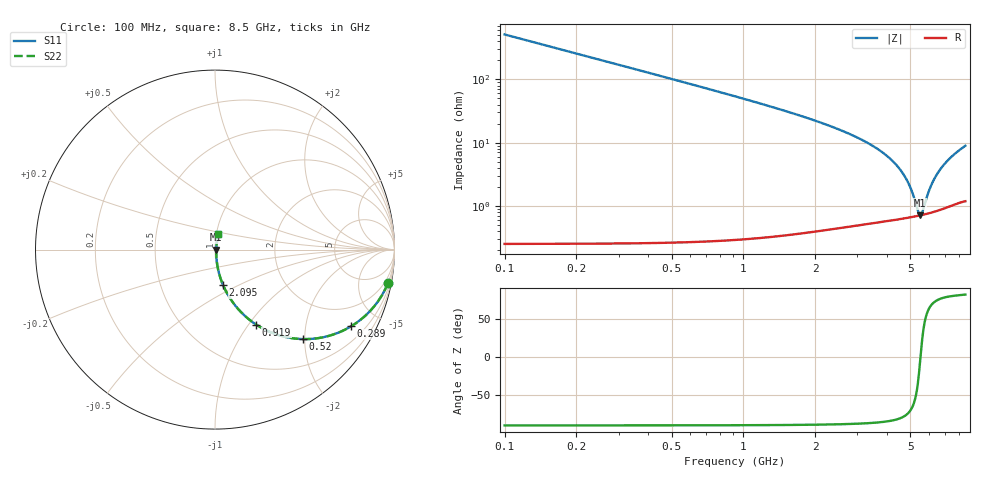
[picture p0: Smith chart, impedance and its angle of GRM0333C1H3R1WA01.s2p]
!Murata Part Number: GRM0333C1H3R1WA01
!These Parameters are Measured in Series Mode Connection
!Data Generated on Mar 30, 2021
!  o--ll--o
!Port1  Port2
!  o------o
!Operation Temp=25[degC], DC Bias Voltage=0[V]
!Freq. Start=100[MHz] Stop=9[GHz] 401[Steps]
# Hz S RI R 50
!Freq.(Hz) S11(Real) S11(Imag) S21(Real) S21(Imag) S12(Real) S12(Imag) S22(Real) S22(Imag)
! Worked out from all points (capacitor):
!   401 points, 100 MHz to 8.5 GHz, reference 50 ohm
!   read as one part in series: C = 3.1 pF near 142 MHz
!   lowest |Z| = 712 mohm at 5.497 GHz (marker M1)
!   series resonance near 5.513 GHz, so ESL is about 270 pH
!   S11 on the Smith chart (normalised r, x): 100 MHz: 1, -10; 289 MHz: 1.01, -3.54; 520 MHz: 1.01, -1.96; 919 MHz: 1.01, -1.09; 2.095 GHz: 1.01, -0.42; 8.5 GHz: 1.02, +0.18
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1e8  0.9633 -0.1877  0.0367 0.1877  0.0367 0.1877  0.9633 -0.1877
2.05e8  0.8619 -0.3445  0.1381 0.3445  0.1381 0.3445  0.8619 -0.3445
2.89e8  0.758 -0.4276  0.242 0.4276  0.242 0.4276  0.758 -0.4276
5.2e8  0.489 -0.4985  0.511 0.4985  0.511 0.4985  0.489 -0.4985
7.09e8  0.3368 -0.4707  0.6632 0.4707  0.6632 0.4707  0.3368 -0.4707
9.19e8  0.2287 -0.4173  0.7713 0.4173  0.7713 0.4173  0.2287 -0.4173
1.507e9  0.0926 -0.2845  0.9074 0.2845  0.9074 0.2845  0.0926 -0.2845
2.095e9  0.0455 -0.1989  0.9545 0.1989  0.9545 0.1989  0.0455 -0.1989
2.914e9  0.0204 -0.1236  0.9796 0.1236  0.9796 0.1236  0.0204 -0.1236
3.733e9  0.011 -0.0734  0.989 0.0734  0.989 0.0734  0.011 -0.0734
4.3e9  0.00814 -0.0464  0.9919 0.0464  0.9919 0.0464  0.00814 -0.0464
4.888e9  0.00697 -0.0224  0.993 0.0224  0.993 0.0224  0.00697 -0.0224
5.119e9  0.00687 -0.0138  0.9931 0.0138  0.9931 0.0138  0.00687 -0.0138
5.392e9  0.00696 -0.00416  0.993 0.00416  0.993 0.00416  0.00696 -0.00416
5.497e9  0.00705 -0.000554  0.993 0.000554  0.993 0.000554  0.00705 -0.000554
5.581e9  0.00714 0.00228  0.9929 -0.00228  0.9929 -0.00228  0.00714 0.00228
5.707e9  0.00732 0.00647  0.9927 -0.00647  0.9927 -0.00647  0.00732 0.00647
5.98e9  0.00783 0.0153  0.9922 -0.0153  0.9922 -0.0153  0.00783 0.0153
6.274e9  0.00859 0.0244  0.9914 -0.0244  0.9914 -0.0244  0.00859 0.0244
6.652e9  0.00985 0.0357  0.9902 -0.0357  0.9902 -0.0357  0.00985 0.0357
7.114e9  0.0118 0.0489  0.9882 -0.0489  0.9882 -0.0489  0.0118 0.0489
8.5e9  0.0193 0.086  0.9807 -0.086  0.9807 -0.086  0.0193 0.086
